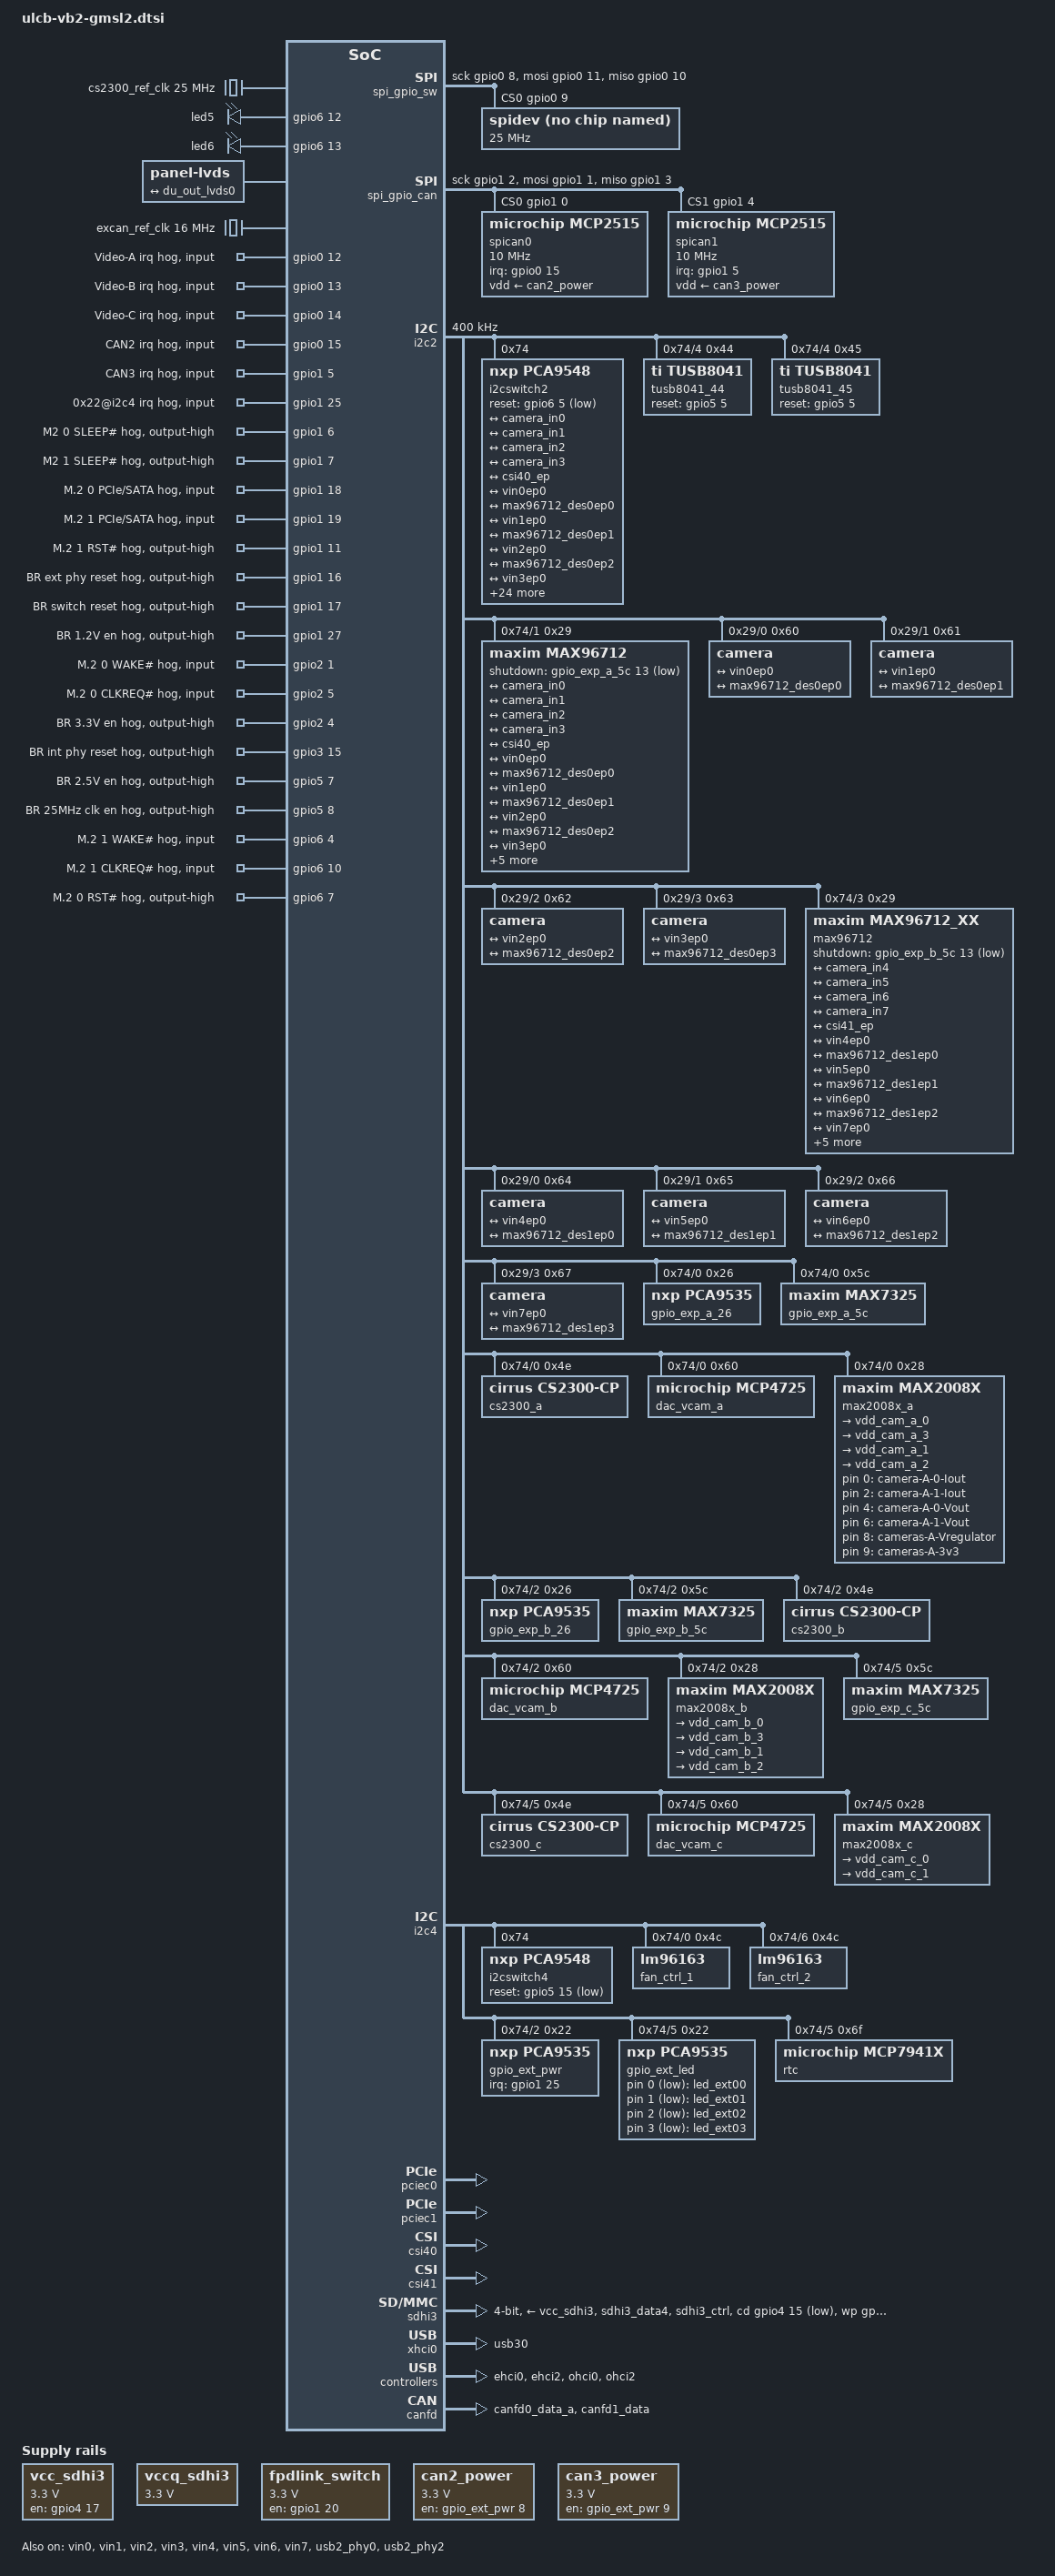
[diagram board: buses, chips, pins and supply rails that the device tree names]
/*
 * Device Tree Source for the ULCB Videobox V2 board
 *
 * Copyright (C) 2018 Cogent Embedded, Inc.
 *
 * This file is licensed under the terms of the GNU General Public License
 * version 2.  This program is licensed "as is" without any warranty of any
 * kind, whether express or implied.
 */

#include "camera.dtsi"

/ {
	cs2300_ref_clk: cs2300_ref_clk {
		compatible = "fixed-clock";
		#clock-cells = <0>;
		clock-frequency = <25000000>;
	};

	leds {
		compatible = "gpio-leds";

		led5 {
			gpios = <&gpio6 12 GPIO_ACTIVE_HIGH>;
		};
		led6 {
			gpios = <&gpio6 13 GPIO_ACTIVE_HIGH>;
		};
		/* D13 - status 0 */
		led_ext00 {
			gpios = <&gpio_ext_led 0 GPIO_ACTIVE_LOW>;
			/* linux,default-trigger = "heartbeat"; */
		};
		/* D14 - status 1 */
		led_ext01 {
			gpios = <&gpio_ext_led 1 GPIO_ACTIVE_LOW>;
			/* linux,default-trigger = "mmc1"; */
		};
		/* D16 - HDMI0 */
		led_ext02 {
			gpios = <&gpio_ext_led 2 GPIO_ACTIVE_LOW>;
		};
		/* D18 - HDMI1 */
		led_ext03 {
			gpios = <&gpio_ext_led 3 GPIO_ACTIVE_LOW>;
		};
	};

	vcc_sdhi3: regulator-vcc-sdhi3 {
		compatible = "regulator-fixed";

		regulator-name = "SDHI3 Vcc";
		regulator-min-microvolt = <3300000>;
		regulator-max-microvolt = <3300000>;

		gpio = <&gpio4 17 GPIO_ACTIVE_HIGH>;
		enable-active-high;
	};

	vccq_sdhi3: regulator-vccq-sdhi3 {
		compatible = "regulator-fixed";

		regulator-name = "SDHI3 VccQ";
		regulator-min-microvolt = <3300000>;
		regulator-max-microvolt = <3300000>;
	};

	fpdlink_switch: regulator@8 {
		compatible = "regulator-fixed";
		regulator-name = "fpdlink_on";
		regulator-min-microvolt = <3300000>;
		regulator-max-microvolt = <3300000>;
		gpio = <&gpio1 20 0>;
		enable-active-high;
		regulator-always-on;
	};

	can2_power: regulator@9 {
		compatible = "regulator-fixed";
		regulator-name = "can2_power";
		regulator-min-microvolt = <3300000>;
		regulator-max-microvolt = <3300000>;
		gpio = <&gpio_ext_pwr 8 GPIO_ACTIVE_HIGH>;
		enable-active-high;
	};

	can3_power: regulator@10 {
		compatible = "regulator-fixed";
		regulator-name = "can3_power";
		regulator-min-microvolt = <3300000>;
		regulator-max-microvolt = <3300000>;
		gpio = <&gpio_ext_pwr 9 GPIO_ACTIVE_HIGH>;
		enable-active-high;
	};

	lvds {
		compatible = "panel-lvds";

		width-mm = <210>;
		height-mm = <158>;

		data-mapping = "jeida-24";

		panel-timing {
			/* 1280x800 @60Hz */
			clock-frequency = <65000000>;
			hactive = <1280>;
			vactive = <800>;
			hsync-len = <40>;
			hfront-porch = <80>;
			hback-porch = <40>;
			vfront-porch = <14>;
			vback-porch = <14>;
			vsync-len = <4>;
		};

		port {
			lvds_in: endpoint {
				remote-endpoint = <&du_out_lvds0>;
			};
		};
	};

	excan_ref_clk: excan-ref-clock {
		compatible = "fixed-clock";
		#clock-cells = <0>;
		clock-frequency = <16000000>;
	};

	spi_gpio_sw {
		compatible = "spi-gpio";
		#address-cells = <0x1>;
		#size-cells = <0x0>;
		gpio-sck = <&gpio0 8 GPIO_ACTIVE_HIGH>;
		gpio-miso = <&gpio0 10 GPIO_ACTIVE_HIGH>;
		gpio-mosi = <&gpio0 11 GPIO_ACTIVE_HIGH>;
		cs-gpios = <&gpio0 9 GPIO_ACTIVE_HIGH>;
		num-chipselects = <1>;

		spidev: spidev@0 {
			compatible = "spidev", "spi-gpio";
			reg = <0>;
			spi-max-frequency = <25000000>;
			spi-cpha;
			spi-cpol;
		};
	};

	spi_gpio_can {
		compatible = "spi-gpio";
		#address-cells = <0x1>;
		#size-cells = <0x0>;
		gpio-sck = <&gpio1 2 GPIO_ACTIVE_HIGH>;
		gpio-miso = <&gpio1 3 GPIO_ACTIVE_HIGH>;
		gpio-mosi = <&gpio1 1 GPIO_ACTIVE_HIGH>;
		cs-gpios = <&gpio1 0 GPIO_ACTIVE_HIGH
			    &gpio1 4 GPIO_ACTIVE_HIGH>;
		num-chipselects = <2>;

		spican0: spidev@0 {
			compatible = "microchip,mcp2515";
			reg = <0>;
			clocks = <&excan_ref_clk>;
			interrupt-parent = <&gpio0>;
			interrupts = <15 GPIO_ACTIVE_LOW>;
			spi-max-frequency = <10000000>;
			vdd-supply = <&can2_power>;
		};
		spican1: spidev@1 {
			compatible = "microchip,mcp2515";
			reg = <1>;
			clocks = <&excan_ref_clk>;
			interrupt-parent = <&gpio1>;
			interrupts = <5 GPIO_ACTIVE_LOW>;
			spi-max-frequency = <10000000>;
			vdd-supply = <&can3_power>;
		};
	};

	/* camera slot A */
	iio_hwmon_a: hwmon_a@1 {
		compatible = "iio-hwmon";
		io-channels =
			/* current */
			<&max2008x_a 0>,
			<&max2008x_a 2>,
			/* voltage */
			<&max2008x_a 4>,
			<&max2008x_a 6>,
			/* misc voltages */
			<&max2008x_a 8>,
			<&max2008x_a 9>;
		io-channel-names =
			"camera-A-0-Iout",
			"camera-A-1-Iout",
			"camera-A-0-Vout",
			"camera-A-1-Vout",
			"cameras-A-Vregulator",
			"cameras-A-3v3";
	};
};

&pfc {
	hscif4_pins: hscif4 {
		groups = "hscif4_data_a", "hscif4_ctrl";
		function = "hscif4";
	};

	usb0_pins: usb0 {
		groups = "usb0";
		function = "usb0";
	};

	usb2_pins: usb2 {
		groups = "usb2";
		function = "usb2";
	};

	usb30_pins: usb30 {
		groups = "usb30";
		function = "usb30";
	};

	can0_pins: can0 {
		groups = "can0_data_a";
		function = "can0";
	};

	can1_pins: can1 {
		groups = "can1_data";
		function = "can1";
	};

	canfd0_pins: canfd0 {
		groups = "canfd0_data_a";
		function = "canfd0";
	};

	canfd1_pins: canfd1 {
		groups = "canfd1_data";
		function = "canfd1";
	};

	sdhi3_pins: sd3 {
		groups = "sdhi3_data4", "sdhi3_ctrl";
		function = "sdhi3";
		power-source = <3300>;
	};

	sdhi3_pins_uhs: sd3_uhs {
		groups = "sdhi3_data4", "sdhi3_ctrl";
		function = "sdhi3";
		power-source = <1800>;
	};
};

&gpio0 {
	video_a_irq {
		gpio-hog;
		gpios = <12 GPIO_ACTIVE_HIGH>;
		input;
		line-name = "Video-A irq";
	};

	video_b_irq {
		gpio-hog;
		gpios = <13 GPIO_ACTIVE_HIGH>;
		input;
		line-name = "Video-B irq";
	};

	video_c_irq {
		gpio-hog;
		gpios = <14 GPIO_ACTIVE_HIGH>;
		input;
		line-name = "Video-C irq";
	};
	can2_irq {
		gpio-hog;
		gpios = <15 GPIO_ACTIVE_HIGH>;
		input;
		line-name = "CAN2 irq";
	};
};

&gpio1 {
	can3_irq {
		gpio-hog;
		gpios = <5 GPIO_ACTIVE_HIGH>;
		input;
		line-name = "CAN3 irq";
	};
	gpioext_4_22_irq {
		gpio-hog;
		gpios = <25 GPIO_ACTIVE_HIGH>;
		input;
		line-name = "0x22@i2c4 irq";
	};
	m2_0_sleep {
		gpio-hog;
		gpios = <6 GPIO_ACTIVE_HIGH>;
		output-high;
		line-name = "M2 0 SLEEP#";
	};
	m2_1_sleep {
		gpio-hog;
		gpios = <7 GPIO_ACTIVE_HIGH>;
		output-high;
		line-name = "M2 1 SLEEP#";
	};
	m2_0_pcie_det {
		gpio-hog;
		gpios = <18 GPIO_ACTIVE_HIGH>;
		input;
		line-name = "M.2 0 PCIe/SATA";
	};
	m2_1_pcie_det {
		gpio-hog;
		gpios = <19 GPIO_ACTIVE_HIGH>;
		input;
		line-name = "M.2 1 PCIe/SATA";
	};
	m2_1_rst {
		gpio-hog;
		gpios = <11 GPIO_ACTIVE_HIGH>;
		output-high;
		line-name = "M.2 1 RST#";
	};
	switch_ext_phy_reset {
		gpio-hog;
		gpios = <16 GPIO_ACTIVE_HIGH>;
		output-high;
		line-name = "BR ext phy reset";
	};
	switch_sw_reset {
		gpio-hog;
		gpios = <17 GPIO_ACTIVE_HIGH>;
		output-high;
		line-name = "BR switch reset";
	};
	switch_1v2_en {
		gpio-hog;
		gpios = <27 GPIO_ACTIVE_HIGH>;
		output-high;
		line-name = "BR 1.2V en";
	};
};

&gpio2 {
	m2_0_wake {
		gpio-hog;
		gpios = <1 GPIO_ACTIVE_HIGH>;
		input;
		line-name = "M.2 0 WAKE#";
	};
	m2_0_clkreq {
		gpio-hog;
		gpios = <5 GPIO_ACTIVE_HIGH>;
		input;
		line-name = "M.2 0 CLKREQ#";
	};
	switch_3v3_en {
		gpio-hog;
		gpios = <4 GPIO_ACTIVE_HIGH>;
		output-high;
		line-name = "BR 3.3V en";
	};
};

&gpio3 {
	switch_int_phy_reset {
		gpio-hog;
		gpios = <15 GPIO_ACTIVE_HIGH>;
		output-high;
		line-name = "BR int phy reset";
	};
};

&gpio5 {
	switch_2v5_en {
		gpio-hog;
		gpios = <7 GPIO_ACTIVE_HIGH>;
		output-high;
		line-name = "BR 2.5V en";
	};
	switch_25mhz_en {
		gpio-hog;
		gpios = <8 GPIO_ACTIVE_HIGH>;
		output-high;
		line-name = "BR 25MHz clk en";
	};
};

&gpio6 {
	m2_1_wake {
		gpio-hog;
		gpios = <4 GPIO_ACTIVE_HIGH>;
		input;
		line-name = "M.2 1 WAKE#";
	};
	m2_1_clkreq {
		gpio-hog;
		gpios = <10 GPIO_ACTIVE_HIGH>;
		input;
		line-name = "M.2 1 CLKREQ#";
	};

	m2_0_rst {
		gpio-hog;
		gpios = <7 GPIO_ACTIVE_HIGH>;
		output-high;
		line-name = "M.2 0 RST#";
	};
};

&i2c2 {
	clock-frequency = <400000>;

	i2cswitch2: pca9548@74 {
		compatible = "nxp,pca9548";
		#address-cells = <1>;
		#size-cells = <0>;
		reg = <0x74>;
		reset-gpios = <&gpio6 5 GPIO_ACTIVE_LOW>;

		i2c@4 {
			#address-cells = <1>;
			#size-cells = <0>;
			reg = <4>;
			/* USB3.0 HUB node(s) */
			tusb8041_44@44 {
				compatible = "ti,tusb8041";
				reg = <0x44>;
				reset-gpios = <&gpio5 5 0>;
				ti,registers = /bits/ 8 <
					0x05 0x10
					0x06 0x0f
					0x07 0x8f
					0x08 0x0f
					0x0a 0x20
					0x0b 0x80>;
			};
			tusb8041_45@45 {
				compatible = "ti,tusb8041";
				reg = <0x45>;
				reset-gpios = <&gpio5 5 0>;
				ti,registers = /bits/ 8 <
					0x05 0x10
					0x06 0x0f
					0x07 0x8f
					0x08 0x0f
					0x0a 0x20
					0x0b 0x80>;
			};
		};

		/* Slot A (CN10) */
		i2c@1 {
			#address-cells = <1>;
			#size-cells = <0>;
			reg = <1>;

			max96712@29 {
				compatible = "maxim,max96712";
				#address-cells = <1>;
				#size-cells = <0>;
				reg = <0x29>;
				clocks = <&cs2300_a>;
				clock-names = "ref_clk";
				shutdown-gpios = <&gpio_exp_a_5c 13 GPIO_ACTIVE_LOW>;

				maxim,link-mipi-map = <1 1 1 1>;

				poc0-supply = <&vdd_cam_a_0>;
				poc1-supply = <&vdd_cam_a_1>;
				poc2-supply = <&vdd_cam_a_2>;
				poc3-supply = <&vdd_cam_a_3>;

				port@0 {
					reg = <4>;
					#address-cells = <1>;
					#size-cells = <0>;

					max96712_des0ep0: endpoint@0 {
						ser-addr = <0x0c>;
						remote-endpoint = <&camera_in0>;
					};
					max96712_des0ep1: endpoint@1 {
						ser-addr = <0x0d>;
						remote-endpoint = <&camera_in1>;
					};
					max96712_des0ep2: endpoint@2 {
						ser-addr = <0x0e>;
						remote-endpoint = <&camera_in2>;
					};
					max96712_des0ep3: endpoint@3 {
						ser-addr = <0x0f>;
						remote-endpoint = <&camera_in3>;
					};
				};

				port@1 {
					max96712_des0csi0ep0: endpoint {
						csi-rate = <1200>;
						remote-endpoint = <&csi40_ep>;
					};
				};


				i2c_des@0 {
					#address-cells = <1>;
					#size-cells = <0>;
					reg = <0>;

					camera@0 {
						compatible = COMPATIBLE_CAMERAS;
						reg = <0x60 0x0c>;

						port@0 {
							camera_in0: endpoint {
								clock-lanes = <0>;
								data-lanes = <1 2 3 4>;
								remote-endpoint = <&vin0ep0>;
							};
						};
						port@1 {
							camera_max96712_des0ep0: endpoint {
								remote-endpoint = <&max96712_des0ep0>;
							};
						};
					};
				};

				i2c_des@1 {
					#address-cells = <1>;
					#size-cells = <0>;
					reg = <1>;

					camera@1 {
						compatible = COMPATIBLE_CAMERAS;
						reg = <0x61 0x0d>;

						port@0 {
							camera_in1: endpoint {
								clock-lanes = <0>;
								data-lanes = <1 2 3 4>;
								remote-endpoint = <&vin1ep0>;
							};
						};
						port@1 {
							camera_max96712_des0ep1: endpoint {
								remote-endpoint = <&max96712_des0ep1>;
							};
						};
					};
				};

				i2c_des@2 {
					#address-cells = <1>;
					#size-cells = <0>;
					reg = <2>;

					camera@2 {
						compatible = COMPATIBLE_CAMERAS;
						reg = <0x62 0x0e>;

						port@0 {
							camera_in2: endpoint {
								clock-lanes = <0>;
								data-lanes = <1 2 3 4>;
								remote-endpoint = <&vin2ep0>;
							};
						};
						port@1 {
							camera_max96712_des0ep2: endpoint {
								remote-endpoint = <&max96712_des0ep2>;
							};
						};
					};
				};

				i2c_des@3 {
					#address-cells = <1>;
					#size-cells = <0>;
					reg = <3>;

					camera@3 {
						compatible = COMPATIBLE_CAMERAS;
						reg = <0x63 0x0f>;

						port@0 {
							camera_in3: endpoint {
								clock-lanes = <0>;
								data-lanes = <1 2 3 4>;
								remote-endpoint = <&vin3ep0>;
							};
						};
						port@1 {
							camera_max96712_des0ep3: endpoint {
								remote-endpoint = <&max96712_des0ep3>;
							};
						};
					};
				};
			};
		};

		/* Slot B (CN11) */
		i2c@3 {
			#address-cells = <1>;
			#size-cells = <0>;
			reg = <3>;

			max96712@29 {
				compatible = "maxim,max96712_XX";
				#address-cells = <1>;
				#size-cells = <0>;
				reg = <0x29>;
				clocks = <&cs2300_b>;
				clock-names = "ref_clk";
				shutdown-gpios = <&gpio_exp_b_5c 13 GPIO_ACTIVE_LOW>;

				maxim,link-mipi-map = <1 1 1 1>;

				poc0-supply = <&vdd_cam_b_0>;
				poc1-supply = <&vdd_cam_b_1>;
				poc2-supply = <&vdd_cam_b_2>;
				poc3-supply = <&vdd_cam_b_3>;

				port@0 {
					reg = <4>;
					#address-cells = <1>;
					#size-cells = <0>;

					max96712_des1ep0: endpoint@0 {
						ser-addr = <0x1c>;
						remote-endpoint = <&camera_in4>;
					};
					max96712_des1ep1: endpoint@1 {
						ser-addr = <0x1d>;
						remote-endpoint = <&camera_in5>;
					};
					max96712_des1ep2: endpoint@2 {
						ser-addr = <0x1e>;
						remote-endpoint = <&camera_in6>;
					};
					max96712_des1ep3: endpoint@3 {
						ser-addr = <0x1f>;
						remote-endpoint = <&camera_in7>;
					};
				};

				port@1 {
					reg = <5>;
					#address-cells = <1>;
					#size-cells = <0>;

					max96712_des1csi0ep0: endpoint {
						csi-rate = <1200>;
						remote-endpoint = <&csi41_ep>;
					};
				};

				i2c_des@0 {
					#address-cells = <1>;
					#size-cells = <0>;
					reg = <0>;

					camera@0 {
						compatible = COMPATIBLE_CAMERAS;
						reg = <0x64 0x1c>;

						port@0 {
							camera_in4: endpoint {
								clock-lanes = <0>;
								data-lanes = <1 2 3 4>;
								remote-endpoint = <&vin4ep0>;
							};
						};
						port@1 {
							camera_max96712_des1ep0: endpoint {
								remote-endpoint = <&max96712_des1ep0>;
							};
						};
					};
				};

				i2c_des@1 {
					#address-cells = <1>;
					#size-cells = <0>;
					reg = <1>;

					camera@1 {
						compatible = COMPATIBLE_CAMERAS;
						reg = <0x65 0x1d>;

						port@0 {
							camera_in5: endpoint {
								clock-lanes = <0>;
								data-lanes = <1 2 3 4>;
								remote-endpoint = <&vin5ep0>;
							};
						};
						port@1 {
							camera_max96712_des1ep1: endpoint {
								remote-endpoint = <&max96712_des1ep1>;
							};
						};
					};
				};

				i2c_des@2 {
					#address-cells = <1>;
					#size-cells = <0>;
					reg = <2>;

					camera@2 {
						compatible = COMPATIBLE_CAMERAS;
						reg = <0x66 0x1e>;

						port@0 {
							camera_in6: endpoint {
								clock-lanes = <0>;
								data-lanes = <1 2 3 4>;
								remote-endpoint = <&vin6ep0>;
							};
						};
						port@1 {
							camera_max96712_des1ep2: endpoint {
								remote-endpoint = <&max96712_des1ep2>;
							};
						};
					};
				};

				i2c_des@3 {
					#address-cells = <1>;
					#size-cells = <0>;
					reg = <3>;

					camera@3 {
						compatible = COMPATIBLE_CAMERAS;
						reg = <0x67 0x1f>;

						port@0 {
							camera_in7: endpoint {
								clock-lanes = <0>;
								data-lanes = <1 2 3 4>;
								remote-endpoint = <&vin7ep0>;
							};
						};
						port@1 {
							camera_max96712_des1ep3: endpoint {
								remote-endpoint = <&max96712_des1ep3>;
							};
						};
					};
				};
			};
		};

		/* Slot A (CN10) */
		i2c@0 {
			#address-cells = <1>;
			#size-cells = <0>;
			reg = <0>;

			/* PCA9535 is a redundant/deprecated card */
			gpio_exp_a_26: gpio@26 {
				compatible = "nxp,pca9535";
				reg = <0x26>;
				gpio-controller;
				#gpio-cells = <2>;

				video_a_pwr_shdn {
					gpio-hog;
					gpios = <3 GPIO_ACTIVE_HIGH>;
					output-high;
					line-name = "Video-A PWR_SHDN";
				};
				video_a_cam_pwr0 {
					gpio-hog;
					gpios = <12 GPIO_ACTIVE_HIGH>;
					output-high;
					line-name = "Video-A PWR0";
				};
				video_a_cam_pwr1 {
					gpio-hog;
					gpios = <13 GPIO_ACTIVE_HIGH>;
					output-high;
					line-name = "Video-A PWR1";
				};
				video_a_cam_pwr2 {
					gpio-hog;
					gpios = <14 GPIO_ACTIVE_HIGH>;
					output-high;
					line-name = "Video-A PWR2";
				};
				video_a_cam_pwr3 {
					gpio-hog;
					gpios = <15 GPIO_ACTIVE_HIGH>;
					output-high;
					line-name = "Video-A PWR3";
				};
				video_a_des_shdn {
					gpio-hog;
					gpios = <4 GPIO_ACTIVE_HIGH>;
					output-high;
					line-name = "Video-A DES_SHDN";
				};
				video_a_des_led {
					gpio-hog;
					gpios = <7 GPIO_ACTIVE_HIGH>;
					output-low;
					line-name = "Video-A led";
				};
			};

			gpio_exp_a_5c: gpio@5c {
				compatible = "maxim,max7325";
				reg = <0x5c>;
				gpio-controller;
				#gpio-cells = <2>;

				video_a_des_cfg0 {
					gpio-hog;
					gpios = <7 GPIO_ACTIVE_HIGH>;
					input;
					line-name = "Video-A cfg0";
				};
				video_a_pwr_shdn {
					gpio-hog;
					gpios = <14 GPIO_ACTIVE_HIGH>;
					output-high;
					line-name = "Video-A PWR_SHDN";
				};
/*
				video_a_des_shdn {
					gpio-hog;
					gpios = <13 GPIO_ACTIVE_HIGH>;
					output-high;
					line-name = "Video-A DES_SHDN";
				};
*/
				video_a_led {
					gpio-hog;
					gpios = <12 GPIO_ACTIVE_HIGH>;
					output-low;
					line-name = "Video-A LED";
				};
			};

			cs2300_a: clk_multiplier_a@4e {
				#clock-cells = <0>;
				compatible = "cirrus,cs2300-cp";
				reg = <0x4e>;
				clocks = <&cs2300_ref_clk>;
				clock-names = "clk_in";

				assigned-clocks = <&cs2300_a>;
				assigned-clock-rates = <25000000>;
			};

			dac_vcam_a: dac_vcam_a@60 {
				compatible = "microchip,mcp4725";
				reg = <0x60>;
			};

			max2008x_a: vcam_switch_a@28 {
				compatible = "maxim,max2008x";
				reg = <0x28>;
				#io-channel-cells = <1>;

				regulators {
					#address-cells = <1>;
					#size-cells = <0>;

					vdd_cam_a_0: SW0 {
						reg = <0>;
						regulator-name = "Camera-A-0";
					};
					vdd_cam_a_3: SW1 {
						reg = <1>;
						regulator-name = "Camera-A-3";
					};
					vdd_cam_a_1: SW2 {
						reg = <2>;
						regulator-name = "Camera-A-1";
					};
					vdd_cam_a_2: SW3 {
						reg = <3>;
						regulator-name = "Camera-A-2";
					};
				};
			};
		};

		i2c@2 {
			#address-cells = <1>;
			#size-cells = <0>;
			reg = <2>;
			/* Slot B (CN11) */

			/* PCA9535 is a redundant/deprecated card */
			gpio_exp_b_26: gpio@26 {
				compatible = "nxp,pca9535";
				reg = <0x26>;
				gpio-controller;
				#gpio-cells = <2>;

				video_b_des_cfg1 {
					gpio-hog;
					gpios = <5 GPIO_ACTIVE_HIGH>;
					input;
					line-name = "Video-B cfg1";
				};
				video_b_des_cfg0 {
					gpio-hog;
					gpios = <6 GPIO_ACTIVE_HIGH>;
					input;
					line-name = "Video-B cfg0";
				};
				video_b_pwr_shdn {
					gpio-hog;
					gpios = <3 GPIO_ACTIVE_HIGH>;
					output-high;
					line-name = "Video-B PWR_SHDN";
				};
				video_b_cam_pwr0 {
					gpio-hog;
					gpios = <12 GPIO_ACTIVE_HIGH>;
					output-high;
					line-name = "Video-B PWR0";
				};
				video_b_cam_pwr1 {
					gpio-hog;
					gpios = <13 GPIO_ACTIVE_HIGH>;
					output-high;
					line-name = "Video-B PWR1";
				};
				video_b_cam_pwr2 {
					gpio-hog;
					gpios = <14 GPIO_ACTIVE_HIGH>;
					output-high;
					line-name = "Video-B PWR2";
				};
				video_b_cam_pwr3 {
					gpio-hog;
					gpios = <15 GPIO_ACTIVE_HIGH>;
					output-high;
					line-name = "Video-B PWR3";
				};
				video_b_des_shdn {
					gpio-hog;
					gpios = <4 GPIO_ACTIVE_HIGH>;
					output-high;
					line-name = "Video-B DES_SHDN";
				};
				video_b_des_led {
					gpio-hog;
					gpios = <7 GPIO_ACTIVE_HIGH>;
					output-low;
					line-name = "Video-B led";
				};
			};

			gpio_exp_b_5c: gpio@5c {
				compatible = "maxim,max7325";
				reg = <0x5c>;
				gpio-controller;
				#gpio-cells = <2>;

				video_b_des_cfg0 {
					gpio-hog;
					gpios = <7 GPIO_ACTIVE_HIGH>;
					input;
					line-name = "Video-B cfg0";
				};
				video_b_pwr_shdn {
					gpio-hog;
					gpios = <14 GPIO_ACTIVE_HIGH>;
					output-high;
					line-name = "Video-B PWR_SHDN";
				};
/*
				video_b_des_shdn {
					gpio-hog;
					gpios = <13 GPIO_ACTIVE_HIGH>;
					output-high;
					line-name = "Video-B DES_SHDN";
				};
*/
				video_b_led {
					gpio-hog;
					gpios = <12 GPIO_ACTIVE_HIGH>;
					output-low;
					line-name = "Video-B LED";
				};
			};

			cs2300_b: clk_multiplier_b@4e {
				#clock-cells = <0>;
				compatible = "cirrus,cs2300-cp";
				reg = <0x4e>;
				clocks = <&cs2300_ref_clk>;
				clock-names = "clk_in";

				assigned-clocks = <&cs2300_b>;
				assigned-clock-rates = <25000000>;
			};

			dac_vcam_b: dac_vcam_b@60 {
				compatible = "microchip,mcp4725";
				reg = <0x60>;
			};

			max2008x_b: vcam_switch_b@28 {
				compatible = "maxim,max2008x";
				reg = <0x28>;
				#io-channel-cells = <1>;

				regulators {
					#address-cells = <1>;
					#size-cells = <0>;

					vdd_cam_b_0: SW0 {
						reg = <0>;
						regulator-name = "Camera-B-0";
					};
					vdd_cam_b_3: SW1 {
						reg = <1>;
						regulator-name = "Camera-B-3";
					};
					vdd_cam_b_1: SW2 {
						reg = <2>;
						regulator-name = "Camera-B-1";
					};
					vdd_cam_b_2: SW3 {
						reg = <3>;
						regulator-name = "Camera-B-2";
					};
				};
			};
		};

		i2c@5 {
			#address-cells = <1>;
			#size-cells = <0>;
			reg = <5>;
			/* Slot C (CN12) */

			gpio_exp_c_5c: gpio@5c {
				compatible = "maxim,max7325";
				reg = <0x5c>;
				gpio-controller;
				#gpio-cells = <2>;

				video_c_des_cfg0 {
					gpio-hog;
					gpios = <7 GPIO_ACTIVE_HIGH>;
					input;
					line-name = "Video-C cfg0";
				};
				video_c_pwr_shdn {
					gpio-hog;
					gpios = <14 GPIO_ACTIVE_HIGH>;
					output-high;
					line-name = "Video-C PWR_SHDN";
				};
/*
				video_c_des_shdn {
					gpio-hog;
					gpios = <13 GPIO_ACTIVE_HIGH>;
					output-high;
					line-name = "Video-C DES_SHDN";
				};
*/
				video_c_led {
					gpio-hog;
					gpios = <12 GPIO_ACTIVE_HIGH>;
					output-low;
					line-name = "Video-C LED";
				};
			};

			cs2300_c: clk_multiplier_c@4e {
				#clock-cells = <0>;
				compatible = "cirrus,cs2300-cp";
				reg = <0x4e>;
				clocks = <&cs2300_ref_clk>;
				clock-names = "clk_in";

				assigned-clocks = <&cs2300_c>;
				assigned-clock-rates = <25000000>;
			};

			dac_vcam_c: dac_vcam_c@60 {
				compatible = "microchip,mcp4725";
				reg = <0x60>;
			};

			max2008x_c: vcam_switch_c@28 {
				compatible = "maxim,max2008x";
				reg = <0x28>;
				#io-channel-cells = <1>;

				regulators {
					vdd_cam_c_0: SW0 {
						regulator-name = "Camera-C-0";
					};
					vdd_cam_c_1: SW2 {
						regulator-name = "Camera-C-1";
					};
				};
			};
		};
	};
};

&i2c4 {
	i2cswitch4: pca9548@74 {
		compatible = "nxp,pca9548";
		#address-cells = <1>;
		#size-cells = <0>;
		reg = <0x74>;
		reset-gpios= <&gpio5 15 GPIO_ACTIVE_LOW>;

		i2c@0 {
			#address-cells = <1>;
			#size-cells = <0>;
			reg = <0>;
			/* FAN1 node - lm96063 */
			fan_ctrl_1:lm96063-1@4c {
				compatible = "lm96163";
				reg = <0x4c>;
			};
		};

		i2c@6 {
			/* FAN2 */
			#address-cells = <1>;
			#size-cells = <0>;
			reg = <6>;
			/* FAN2 node - lm96063 */
			fan_ctrl_2:lm96063-2@4c {
				compatible = "lm96163";
				reg = <0x4c>;
			};
		};

		i2c@1 {
			#address-cells = <1>;
			#size-cells = <0>;
			reg = <1>;

			/* Power nodes - 2 x TPS544x20 */
			tps_5v: tps544c20@0x2a {
				compatible = "tps544c20";
				reg = <0x2c>;
				status = "disabled";
			};
			tps_3v3: tps544c20@0x22 {
				compatible = "tps544c20";
				reg = <0x24>;
				status = "disabled";
			};
		};

		i2c_power: i2c@2 {
			#address-cells = <1>;
			#size-cells = <0>;
			reg = <2>;
			/* CAN and power board nodes */

			gpio_ext_pwr: pca9535@22 {
				compatible = "nxp,pca9535";
				reg = <0x22>;
				gpio-controller;
				#gpio-cells = <2>;
				interrupt-controller;
				interrupt-parent = <&gpio1>;
				interrupts = <25 IRQ_TYPE_EDGE_FALLING>;

				/* enable input DCDC after wake-up signal released */
				pwr_hold {
					gpio-hog;
					gpios = <11 GPIO_ACTIVE_HIGH>;
					output-high;
					line-name = "pwr_hold";
				};
				pwr_5v_out {
					gpio-hog;
					gpios = <14 GPIO_ACTIVE_HIGH>;
					output-high;
					line-name = "pwr_5v_out";
				};
				pwr_5v_oc {
					gpio-hog;
					gpios = <15 GPIO_ACTIVE_HIGH>;
					input;
					line-name = "pwr_5v_oc";
				};
				pwr_wake8 {
					gpio-hog;
					gpios = <12 GPIO_ACTIVE_HIGH>;
					input;
					line-name = "wake8";
				};
				pwr_wake7 {
					gpio-hog;
					gpios = <13 GPIO_ACTIVE_HIGH>;
					input;
					line-name = "wake7";
				};

				/* CAN0 */
				can0_stby {
					gpio-hog;
					gpios = <4 GPIO_ACTIVE_HIGH>;
					output-low;
					line-name = "can0_stby";
				};
				can0_load {
					gpio-hog;
					gpios = <0 GPIO_ACTIVE_HIGH>;
					output-high;
					line-name = "can0_120R_load";
				};
				/* CAN1 */
				can1_stby {
					gpio-hog;
					gpios = <5 GPIO_ACTIVE_HIGH>;
					output-low;
					line-name = "can1_stby";
				};
				can1_load {
					gpio-hog;
					gpios = <1 GPIO_ACTIVE_HIGH>;
					output-high;
					line-name = "can1_120R_load";
				};
				/* CAN2 */
				can2_stby {
					gpio-hog;
					gpios = <6 GPIO_ACTIVE_HIGH>;
					output-low;
					line-name = "can2_stby";
				};
				can2_load {
					gpio-hog;
					gpios = <2 GPIO_ACTIVE_HIGH>;
					output-high;
					line-name = "can2_120R_load";
				};
				/* CAN3 */
				can3_stby {
					gpio-hog;
					gpios = <7 GPIO_ACTIVE_HIGH>;
					output-low;
					line-name = "can3_stby";
				};
				can3_load {
					gpio-hog;
					gpios = <3 GPIO_ACTIVE_HIGH>;
					output-high;
					line-name = "can3_120R_load";
				};
			};
		};

		i2c@3 {
			#address-cells = <1>;
			#size-cells = <0>;
			reg = <3>;
			/* FPDLink output node - DS90UH947 */
		};

		i2c@4 {
			#address-cells = <1>;
			#size-cells = <0>;
			reg = <4>;
			/* BCM switch node */
		};

		i2c@5 {
			#address-cells = <1>;
			#size-cells = <0>;
			reg = <5>;
			/* LED board node(s) */

			gpio_ext_led: pca9535@22 {
				compatible = "nxp,pca9535";
				reg = <0x22>;
				gpio-controller;
				#gpio-cells = <2>;

				/* gpios 0..7 are used for indication LEDs, low-active */
			};
			rtc: mcp79411@6f {
				compatible = "microchip,mcp7941x";
				reg = <0x6f>;
			};
		};

		/* port 7 is not used */
	};
};

&pcie_bus_clk {
	clock-frequency = <100000000>;
	status = "okay";
};

&pciec0 {
	status = "okay";
};

&pciec1 {
	status = "okay";
};

&vin0 {
	status = "okay";

	ports {
		#address-cells = <1>;
		#size-cells = <0>;

		port@0 {
			vin0ep0: endpoint {
				csi,select = "csi40";
				virtual,channel = <0>;
				data-lanes = <1 2 3 4>;
				remote-endpoint = <&camera_in0>;
			};
		};
		port@1 {
			csi40ep0: endpoint {
				remote-endpoint = <&csi40_ep>;
			};
		};
		port@2 {
			vin0_mmax96712_des0ep0: endpoint {
				remote-endpoint = <&max96712_des0ep0>;
			};
		};
	};
};

&vin1 {
	status = "okay";

	ports {
		#address-cells = <1>;
		#size-cells = <0>;

		port@0 {
			vin1ep0: endpoint {
				csi,select = "csi40";
				virtual,channel = <1>;
				data-lanes = <1 2 3 4>;
				remote-endpoint = <&camera_in1>;
			};
		};
		port@1 {
			csi40ep1: endpoint {
				remote-endpoint = <&csi40_ep>;
			};
		};
		port@2 {
			vin1_max96712_des0ep1: endpoint {
				remote-endpoint = <&max96712_des0ep1>;
			};
		};
	};
};

&vin2 {
	status = "okay";

	ports {
		#address-cells = <1>;
		#size-cells = <0>;

		port@0 {
			vin2ep0: endpoint {
				csi,select = "csi40";
				virtual,channel = <2>;
				data-lanes = <1 2 3 4>;
				remote-endpoint = <&camera_in2>;
			};
		};
		port@1 {
			csi40ep2: endpoint {
				remote-endpoint = <&csi40_ep>;
			};
		};
		port@2 {
			vin2_max96712_des0ep2: endpoint {
				remote-endpoint = <&max96712_des0ep2>;
			};
		};
	};
};

&vin3 {
	status = "okay";

	ports {
		#address-cells = <1>;
		#size-cells = <0>;

		port@0 {
			vin3ep0: endpoint {
				csi,select = "csi40";
				virtual,channel = <3>;
				data-lanes = <1 2 3 4>;
				remote-endpoint = <&camera_in3>;
			};
		};
		port@1 {
			csi40ep3: endpoint {
				remote-endpoint = <&csi40_ep>;
			};
		};
		port@2 {
			vin3_max96712_des0ep3: endpoint {
				remote-endpoint = <&max96712_des0ep3>;
			};
		};
	};
};

&vin4 {
	status = "okay";

	ports {
		#address-cells = <1>;
		#size-cells = <0>;

		port@0 {
			vin4ep0: endpoint {
				csi,select = "csi41";
				virtual,channel = <0>;
				remote-endpoint = <&camera_in4>;
				data-lanes = <1 2 3 4>;
			};
		};
		port@1 {
			csi41ep0: endpoint {
				remote-endpoint = <&csi41_ep>;
			};
		};
		port@2 {
			vin4_max96712_des0ep1: endpoint {
				remote-endpoint = <&max96712_des1ep0>;
			};
		};
	};
};

&vin5 {
	status = "okay";

	ports {
		#address-cells = <1>;
		#size-cells = <0>;

		port@0 {
			vin5ep0: endpoint@0 {
				csi,select = "csi41";
				virtual,channel = <1>;
				remote-endpoint = <&camera_in5>;
				data-lanes = <1 2 3 4>;
			};
		};
		port@1 {
			csi41ep1: endpoint {
				remote-endpoint = <&csi41_ep>;
			};
		};
		port@2 {
			vin5_max96712_des0ep1: endpoint {
				remote-endpoint = <&max96712_des1ep1>;
			};
		};
	};
};

&vin6 {
	status = "okay";

	ports {
		#address-cells = <1>;
		#size-cells = <0>;

		port@0 {
			vin6ep0: endpoint@0 {
				csi,select = "csi41";
				virtual,channel = <2>;
				remote-endpoint = <&camera_in6>;
				data-lanes = <1 2 3 4>;
			};
		};
		port@1 {
			csi41ep2: endpoint {
				remote-endpoint = <&csi41_ep>;
			};
		};
		port@2 {
			vin6_max96712_des2ep2: endpoint {
				remote-endpoint = <&max96712_des1ep2>;
			};
		};
	};
};

&vin7 {
	status = "okay";

	ports {
		#address-cells = <1>;
		#size-cells = <0>;

		port@0 {
			vin7ep0: endpoint@0 {
				csi,select = "csi41";
				virtual,channel = <3>;
				remote-endpoint = <&camera_in7>;
				data-lanes = <1 2 3 4>;
			};
		};
		port@1 {
			csi41ep3: endpoint {
				remote-endpoint = <&csi41_ep>;
			};
		};
		port@2 {
			vin7_max96712_des2ep3: endpoint {
				remote-endpoint = <&max96712_des1ep3>;
			};
		};
	};
};

&csi40 {
	status = "okay";

	port {
		#address-cells = <1>;
		#size-cells = <0>;

		csi40_ep: endpoint {
			clock-lanes = <0>;
			data-lanes = <1 2 3 4>;
			csi-rate = <300>;
		};
	};
};

&csi41 {
	status = "okay";

	port {
		#address-cells = <1>;
		#size-cells = <0>;

		csi41_ep: endpoint {
			clock-lanes = <0>;
			data-lanes = <1 2 3 4>;
			csi-rate = <300>;
		};
	};
};

&ssi1 {
	/delete-property/shared-pin;
};

&sdhi3 {
	pinctrl-0 = <&sdhi3_pins>;
	pinctrl-1 = <&sdhi3_pins_uhs>;
	pinctrl-names = "default", "state_uhs";

	vmmc-supply = <&vcc_sdhi3>;
	vqmmc-supply = <&vccq_sdhi3>;
	cd-gpios = <&gpio4 15 GPIO_ACTIVE_LOW>;
	wp-gpios = <&gpio4 16 GPIO_ACTIVE_HIGH>;
	bus-width = <4>;
	sd-uhs-sdr50;
	status = "okay";
};

&msiof1 {
	status = "disabled";
};

&usb2_phy0 {
	pinctrl-0 = <&usb0_pins>;
	pinctrl-names = "default";

	status = "okay";
};

&usb2_phy2 {
	pinctrl-0 = <&usb2_pins>;
	pinctrl-names = "default";

	status = "okay";
};

&xhci0 {
	pinctrl-0 = <&usb30_pins>;
	pinctrl-names = "default";

	status = "okay";
};

&ehci0 {
	status = "okay";
};

&ehci2 {
	status = "okay";
};

&ohci0 {
	status = "okay";
};

&ohci2 {
	status = "okay";
};

&can0 {
	pinctrl-0 = <&can0_pins>;
	pinctrl-names = "default";
	status = "disabled";
};

&can1 {
	pinctrl-0 = <&can1_pins>;
	pinctrl-names = "default";
	status = "disabled";
};

&canfd {
	pinctrl-0 = <&canfd0_pins &canfd1_pins>;
	pinctrl-names = "default";
	status = "okay";

	channel0 {
		status = "okay";
	};

	channel1 {
		status = "okay";
	};
};

/* uncomment to enable CN12 on VIN4-7 */
//#include "ulcb-vb2-cn12.dtsi"
